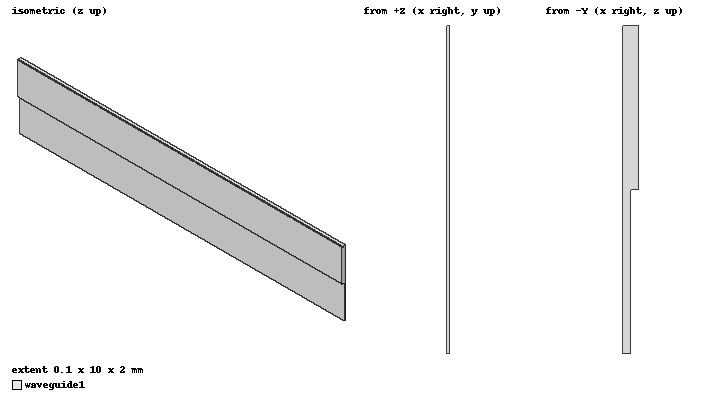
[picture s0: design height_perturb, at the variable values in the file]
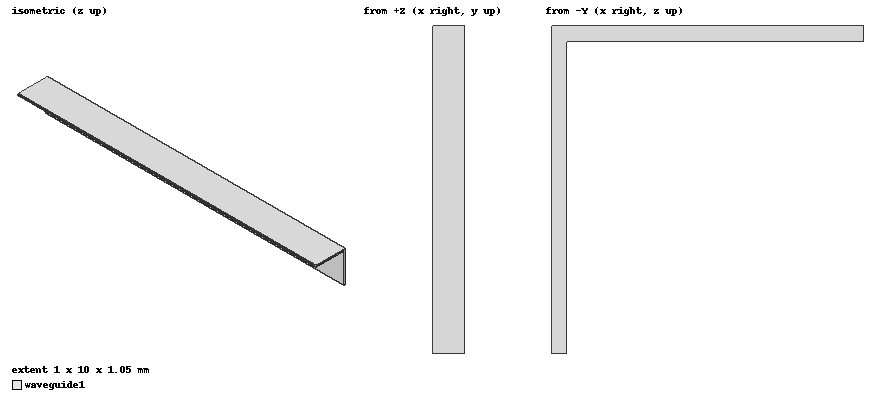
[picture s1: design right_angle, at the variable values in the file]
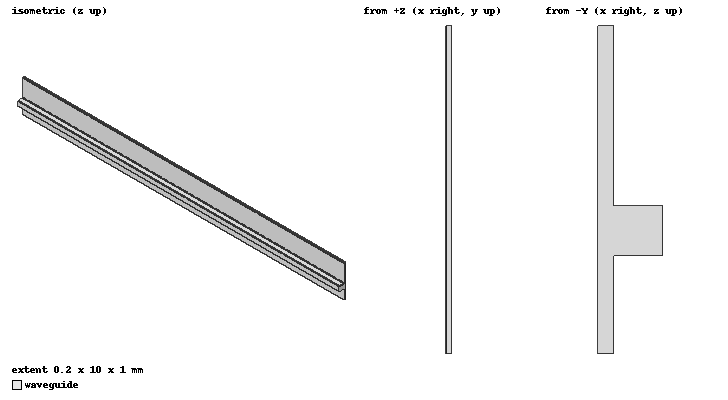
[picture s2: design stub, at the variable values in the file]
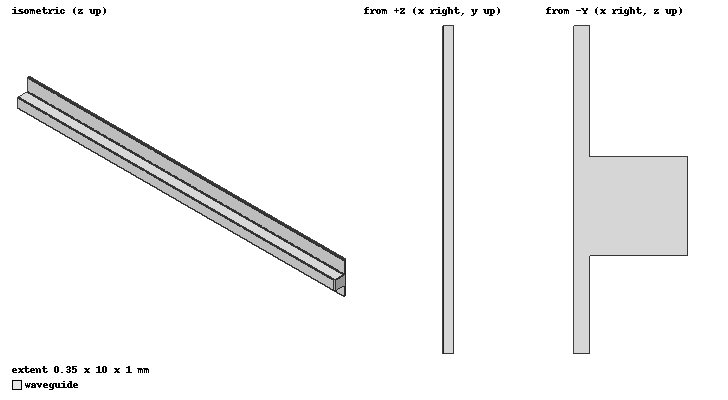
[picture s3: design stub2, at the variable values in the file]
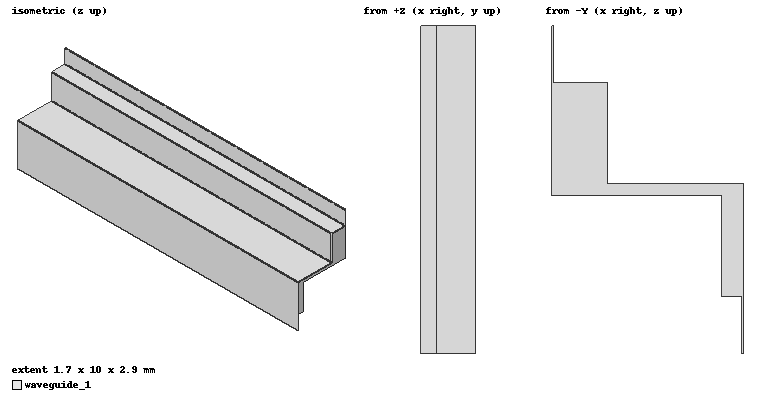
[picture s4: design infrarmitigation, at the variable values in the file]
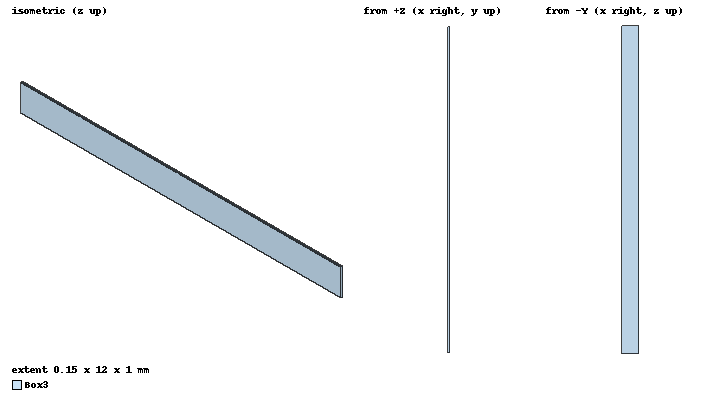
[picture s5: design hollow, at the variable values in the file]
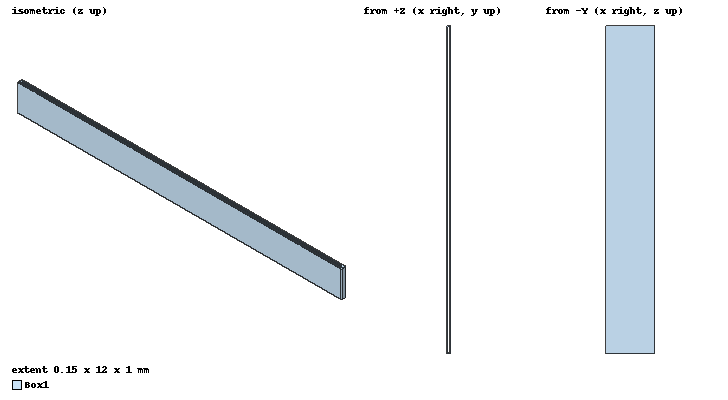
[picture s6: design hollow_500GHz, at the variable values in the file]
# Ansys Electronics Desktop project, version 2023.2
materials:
  vacuum: permittivity=1
  copper: permeability=0.999991 conductivity=58000000
  FR4_epoxy: permittivity=4.4 dielectric_loss_tangent=0.02
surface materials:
  Steel-oxidised-surface

design cylindrical2 (HFSS, HFSS Terminal Network, model units mm)
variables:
  Ephi = 0
  Ei = 1
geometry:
  Cylinder1 [vacuum] = cylinder(axis=X, base_centre=(0mm, 0mm, 0mm), radius=0.05mm, height=0.4mm)
  coordinate_system outgoing_cs = origin=(0.4mm, -1.0727353e-49mm, -3.2162453e-17mm) x=(1mm, 0mm, 0mm) y=(0mm, 1mm, 0mm)
  list outgoing = Cylinder1.face(+x end)
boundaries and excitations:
  rbin: Radiation Faces=Cylinder1.face(-x end)
  rbout: Radiation Faces=Cylinder1.face(+x end)
  IncPWave1: Plane Incident Wave Faces=Cylinder1.face(side) PhiStart=0deg PhiStop=45deg PhiPoints=4 ThetaStart=0deg ThetaStop=45deg ThetaPoints=4 EoPhi=1 EoTheta=0 OriginX=0.2mm OriginY=0.025mm OriginZ=0.05mm IsPropagating
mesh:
  initial mesh: GlobalModelRes{DefeatureLength=0.0001meter}
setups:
  Setup1: HfssDriven Frequency=2000GHz MaxDeltaE=0.02 MaximumPasses=10 MinimumPasses=1 MinimumConvergedPasses=1 PercentRefinement=30 BasisOrder=1 DrivenSolverType="Direct Solver"
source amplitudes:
  IncPWave1:1: 1 0deg
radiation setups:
  radiation_sphere_2000GHz: Infinite Sphere Theta=0deg..180deg step 5deg Phi=-90deg..90deg step 5deg CustomRadiationSurface=outgoing CoordSystem=outgoing_cs
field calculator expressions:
  outgoing_power = Vector_RealPoynting | Mag | EnterSurface(outgoing) | SurfaceValue | Integrate
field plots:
  Mag_E1: E Field over Cylinder1.face(+x end) on Setup1 : LastAdaptive at Freq=2000GHz Phase=0deg
  ComplexMag_E1: E Field over Cylinder1.face(side) on Setup1 : LastAdaptive at Freq=2000GHz IWavePhi=0deg IWaveTheta=0deg Phase=0deg

design height_perturb (HFSS, HFSS Terminal Network, model units mm)
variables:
  Ephi = 0
  Ei = 1
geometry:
  waveguide = box(corner=(0mm, -5mm, 0mm), size=(0.05mm, 10mm, 1mm))
  waveguide1 [vacuum] = box(corner=(0mm, -5mm, 1mm), size=(0.1mm, 10mm, 1mm))
  waveguide1.unite(waveguide)
  coordinate_system outgoing_cs = origin=(0.05mm, 0mm, 2mm) x=(0mm, 0mm, 1mm) y=(0mm, 1mm, 0mm)
  list outgoing = waveguide1.face(+z)
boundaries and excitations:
  rbin: Radiation Faces=waveguide1.face(at (0.025, 0, 0))
  rbout: Radiation Faces=waveguide1.face(+z)
  plane_wave_500GHz: Plane Incident Wave Faces=waveguide1.face(at (0.025, 0, 0)) PhiStart=0deg PhiStop=90deg PhiPoints=7 ThetaStart=90deg ThetaStop=180deg ThetaPoints=7 EoPhi=Ephi EoTheta=1-Ephi OriginX=0.025mm OriginY=0mm OriginZ=0mm IsPropagating
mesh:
  initial mesh: GlobalModelRes{DefeatureLength=0.0001meter}
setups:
  500GHz: HfssDriven Frequency=500GHz MaxDeltaE=0.02 MaximumPasses=10 MinimumPasses=1 MinimumConvergedPasses=1 PercentRefinement=30 BasisOrder=1 DrivenSolverType="Direct Solver"
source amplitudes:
  plane_wave_500GHz:1: 1 0deg
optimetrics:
  E_phi_sweep_500GHz: Parametric Sim._Setups=[500GHz]
    sweep Ephi: LIN 0 1 1
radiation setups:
  radiation_sphere_500GHz: Infinite Sphere Theta=0deg..180deg step 5deg Phi=-90deg..90deg step 0.34353685146506deg CustomRadiationSurface=outgoing CoordSystem=outgoing_cs
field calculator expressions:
  outgoing_power = Vector_RealPoynting | Mag | EnterSurface(outgoing) | SurfaceValue | Integrate
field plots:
  Mag_E1: E Field in waveguide1 on 500GHz : LastAdaptive at Freq=500GHz IWavePhi=0deg IWaveTheta=90deg Phase=0deg

design right_angle (HFSS, HFSS Terminal Network, model units mm)
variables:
  Ephi = 0
  Ei = 1
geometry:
  waveguide = box(corner=(0mm, -5mm, 0mm), size=(0.05mm, 10mm, 1mm))
  waveguide1 [vacuum] = box(corner=(0mm, -5mm, 1mm), size=(1mm, 10mm, 0.05mm))
  waveguide1.unite(waveguide)
  coordinate_system outgoing_cs = origin=(1mm, 0mm, 1.025mm) x=(1mm, 0mm, 0mm) y=(0mm, 1mm, 0mm)
  list outgoing = waveguide1.face(+x)
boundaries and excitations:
  rbin: Radiation Faces=waveguide1.face(at (0.025, 0, 0))
  rbout: Radiation Faces=waveguide1.face(+x)
  plane_wave_500GHz: Plane Incident Wave Faces=waveguide1.face(at (0.025, 0, 0)) PhiStart=0deg PhiStop=90deg PhiPoints=19 ThetaStart=90deg ThetaStop=180deg ThetaPoints=19 EoPhi=Ephi EoTheta=1-Ephi OriginX=0.025mm OriginY=0mm OriginZ=0mm IsPropagating
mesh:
  initial mesh: GlobalModelRes{DefeatureLength=0.0001meter}
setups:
  500GHz: HfssDriven Frequency=500GHz MaxDeltaE=0.02 MaximumPasses=10 MinimumPasses=1 MinimumConvergedPasses=1 PercentRefinement=30 BasisOrder=1 DrivenSolverType="Direct Solver"
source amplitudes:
  plane_wave_500GHz:1: 1 0deg
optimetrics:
  E_phi_sweep_500GHz: Parametric Sim._Setups=[500GHz]
    sweep Ephi: LIN 0 1 1
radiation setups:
  radiation_sphere_500GHz: Infinite Sphere Theta=0deg..180deg step 5deg Phi=-90deg..90deg step 0.34353685146506deg CustomRadiationSurface=outgoing CoordSystem=outgoing_cs
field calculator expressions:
  outgoing_power = Vector_RealPoynting | Mag | EnterSurface(outgoing) | SurfaceValue | Integrate

design stub (HFSS, HFSS Terminal Network, model units mm)
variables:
  Ephi = 0
  Ei = 1
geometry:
  waveguide [vacuum] = box(corner=(0mm, -5mm, 0mm), size=(0.05mm, 10mm, 1mm))
  Box1 = box(corner=(0.05mm, -5mm, 0.3mm), size=(0.15mm, 10mm, 0.15mm))
  waveguide.unite(Box1)
  coordinate_system outgoing_cs = origin=(0.025mm, 0mm, 1mm) x=(0mm, 0mm, 1mm) y=(0mm, 1mm, 0mm)
  list outgoing = waveguide.face(+z)
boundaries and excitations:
  rbin: Radiation Faces=waveguide.face(-z)
  rbout: Radiation Faces=waveguide.face(+z)
  plane_wave_500GHz: Plane Incident Wave Faces=waveguide.face(-z) PhiStart=0deg PhiStop=90deg PhiPoints=7 ThetaStart=90deg ThetaStop=180deg ThetaPoints=7 EoPhi=Ephi EoTheta=1-Ephi OriginX=0.025mm OriginY=0mm OriginZ=0mm IsPropagating
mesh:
  initial mesh: GlobalModelRes{DefeatureLength=0.0001meter}
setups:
  500GHz: HfssDriven Frequency=500GHz MaxDeltaE=0.02 MaximumPasses=10 MinimumPasses=1 MinimumConvergedPasses=1 PercentRefinement=30 BasisOrder=1 DrivenSolverType="Direct Solver"
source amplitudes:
  plane_wave_500GHz:1: 1 0deg
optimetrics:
  E_phi_sweep_500GHz: Parametric Sim._Setups=[500GHz]
    sweep Ephi: LIN 0 1 1
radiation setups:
  radiation_sphere_500GHz: Infinite Sphere Theta=0deg..180deg step 5deg Phi=-90deg..90deg step 0.34353685146506deg CustomRadiationSurface=outgoing CoordSystem=outgoing_cs
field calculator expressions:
  outgoing_power = Vector_RealPoynting | Mag | EnterSurface(outgoing) | SurfaceValue | Integrate
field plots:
  ComplexMag_E1, Mag_E1: E Field in waveguide on 500GHz : LastAdaptive at Freq=500GHz IWavePhi=0deg IWaveTheta=180deg Phase=0deg

design stub2 (HFSS, HFSS Terminal Network, model units mm)
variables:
  Ephi = 0
  Ei = 1
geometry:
  waveguide [vacuum] = box(corner=(0mm, -5mm, 0mm), size=(0.05mm, 10mm, 1mm))
  Box1 = box(corner=(0.05mm, -5mm, 0.3mm), size=(0.3mm, 10mm, 0.3mm))
  waveguide.unite(Box1)
  coordinate_system outgoing_cs = origin=(0.025mm, 0mm, 1mm) x=(0mm, 0mm, 1mm) y=(0mm, 1mm, 0mm)
  list outgoing = waveguide.face(+z)
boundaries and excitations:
  rbin: Radiation Faces=waveguide.face(-z)
  rbout: Radiation Faces=waveguide.face(+z)
  plane_wave_500GHz: Plane Incident Wave Faces=waveguide.face(-z) PhiStart=0deg PhiStop=90deg PhiPoints=7 ThetaStart=90deg ThetaStop=180deg ThetaPoints=7 EoPhi=Ephi EoTheta=1-Ephi OriginX=0.025mm OriginY=0mm OriginZ=0mm IsPropagating
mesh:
  initial mesh: GlobalModelRes{DefeatureLength=0.0001meter}
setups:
  500GHz: HfssDriven Frequency=500GHz MaxDeltaE=0.02 MaximumPasses=10 MinimumPasses=1 MinimumConvergedPasses=1 PercentRefinement=30 BasisOrder=1 DrivenSolverType="Direct Solver"
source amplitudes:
  plane_wave_500GHz:1: 1 0deg
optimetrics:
  E_phi_sweep_500GHz: Parametric Sim._Setups=[500GHz]
    sweep Ephi: LIN 0 1 1
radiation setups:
  radiation_sphere_500GHz: Infinite Sphere Theta=0deg..180deg step 5deg Phi=-90deg..90deg step 0.34353685146506deg CustomRadiationSurface=outgoing CoordSystem=outgoing_cs
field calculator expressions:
  outgoing_power = Vector_RealPoynting | Mag | EnterSurface(outgoing) | SurfaceValue | Integrate
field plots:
  ComplexMag_E1, Mag_E1: E Field in waveguide on 500GHz : LastAdaptive at Freq=500GHz IWavePhi=0deg IWaveTheta=180deg Phase=0deg

design infrarmitigation (HFSS, HFSS Terminal Network, model units mm)
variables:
  Ephi = 0
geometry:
  waveguide = box(corner=(0mm, -5mm, 0mm), size=(0.02mm, 10mm, 0.5mm))
  waveguide_1 [vacuum] = box(corner=(0mm, -5mm, -1mm), size=(0.5mm, 10mm, 1mm))
  waveguide_1.unite(waveguide)
  Box1 = box(corner=(0.5mm, -5mm, -1mm), size=(1mm, 10mm, 0.1mm))
  waveguide_1.unite(Box1)
  Box2 = box(corner=(1.5mm, 5mm, -0.9mm), size=(0.2mm, -10mm, -1mm))
  waveguide_1.unite(Box2)
  Box3 = box(corner=(1.7mm, 5mm, -1.9mm), size=(-0.02mm, -10mm, -0.5mm))
  waveguide_1.unite(Box3)
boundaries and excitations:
  rbout: Radiation Faces=waveguide_1.face(at (0.01, 0, 0.5))
  rbin1: Radiation Faces=waveguide_1.face(-z)
  rbout1: Radiation Faces=waveguide_1.face(+z)
  plane_wave_500GHz1: Plane Incident Wave Faces=waveguide_1.face(-z) PhiStart=0deg PhiStop=90deg PhiPoints=7 ThetaStart=0deg ThetaStop=90deg ThetaPoints=7 EoPhi=Ephi EoTheta=1-Ephi OriginX=-0.01mm OriginY=0mm OriginZ=0.5mm IsPropagating
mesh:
  initial mesh: GlobalModelRes{DefeatureLength=0.0001meter}
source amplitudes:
  plane_wave_500GHz1:1: 1 0deg

design rectangle (HFSS, HFSS Terminal Network, model units mm)
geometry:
  waveguide [vacuum] = box(corner=(0mm, -5mm, 0mm), size=(0.05mm, 10mm, 1mm))
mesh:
  initial mesh: GlobalModelRes{DefeatureLength=0.0001meter}

design crack1Rohan (HFSS, HFSS Terminal Network, model units mm)
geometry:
  crack1 [vacuum] = box(corner=(0mm, -5mm, 0mm), size=(0.05mm, 10mm, 1mm))
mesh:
  initial mesh: GlobalModelRes{DefeatureLength=0.0001meter}

design hollow (HFSS, HFSS Terminal Network, model units mm)
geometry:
  Box1 = box(corner=(-0.05mm, -6mm, 0mm), size=(0.15mm, 12mm, 1mm))
  Box2 = box(corner=(0mm, -5.95mm, 0mm), size=(0.05mm, 11.9mm, 1mm))
  Box1.subtract(Box2)
  Box3 [vacuum] = box(corner=(0.1mm, -6mm, 1mm), size=(-0.15mm, 12mm, -1mm))
  Box3.subtract(Box1)
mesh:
  initial mesh: GlobalModelRes{DefeatureLength=0.0001meter}

design hollow_500GHz (HFSS, HFSS Terminal Network, model units mm)
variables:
  Ephi = 0
  Ei = 1
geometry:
  Box1 [vacuum] = box(corner=(-0.05mm, -6mm, 0mm), size=(0.15mm, 12mm, 1mm))
  Box2 = box(corner=(0mm, -5.95mm, 0mm), size=(0.05mm, 11.9mm, 1mm))
  Box1.subtract(Box2)
  coordinate_system outgoing_cs = origin=(0.025mm, 0mm, 1mm) x=(0mm, 0mm, 1mm) y=(0mm, 1mm, 0mm)
  list outgoing = Box1.face(+z)
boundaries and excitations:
  rbin: Radiation Faces=Box1.face(-z)
  rbout: Radiation Faces=Box1.face(+z)
  plane_wave_500GHz: Plane Incident Wave Faces=Box1.face(-z) PhiStart=0deg PhiStop=90deg PhiPoints=2 ThetaStart=90deg ThetaStop=180deg ThetaPoints=2 EoPhi=Ephi EoTheta=1-Ephi OriginX=0.025mm OriginY=0mm OriginZ=0mm IsPropagating
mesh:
  initial mesh: GlobalModelRes{DefeatureLength=0.0001meter}
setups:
  500GHz: HfssDriven Frequency=500GHz MaxDeltaE=0.02 MaximumPasses=10 MinimumPasses=1 MinimumConvergedPasses=1 PercentRefinement=30 BasisOrder=1 DrivenSolverType="Direct Solver"
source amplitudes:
  plane_wave_500GHz:1: 1 0deg
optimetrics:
  E_phi_sweep_500GHz: Parametric Sim._Setups=[500GHz]
    sweep Ephi: LIN 0 1 1
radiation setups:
  radiation_sphere_500GHz: Infinite Sphere Theta=0deg..180deg step 5deg Phi=-90deg..90deg step 0.34353685146506deg CustomRadiationSurface=outgoing CoordSystem=outgoing_cs
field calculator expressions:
  outgoing_power = Vector_RealPoynting | Mag | EnterSurface(outgoing) | SurfaceValue | Integrate
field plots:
  Mag_E1: E Field in Box1 on 500GHz : LastAdaptive at Freq=500GHz IWavePhi=0deg IWaveTheta=90deg Phase=0deg

design crack1again_500GHz (HFSS, HFSS Terminal Network, model units mm)
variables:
  Ephi = 0
  Ei = 1
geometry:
  crack1 [vacuum] = box(corner=(0mm, -5mm, 0mm), size=(0.05mm, 10mm, 1mm))
  coordinate_system outgoing_cs = origin=(0.025mm, 0mm, 1mm) x=(0mm, 0mm, 1mm) y=(0mm, 1mm, 0mm)
  list outgoing = crack1.face(+z)
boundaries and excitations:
  rbin: Radiation Faces=crack1.face(-z)
  rbout: Radiation Faces=crack1.face(+z)
  plane_wave_500GHz: Plane Incident Wave Faces=crack1.face(-z) PhiStart=0deg PhiStop=90deg PhiPoints=2 ThetaStart=90deg ThetaStop=180deg ThetaPoints=2 EoPhi=Ephi EoTheta=1-Ephi OriginX=0.025mm OriginY=0mm OriginZ=0mm IsPropagating
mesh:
  initial mesh: GlobalModelRes{DefeatureLength=0.0001meter}
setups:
  500GHz: HfssDriven Frequency=500GHz MaxDeltaE=0.02 MaximumPasses=10 MinimumPasses=1 MinimumConvergedPasses=1 PercentRefinement=30 BasisOrder=1 DrivenSolverType="Direct Solver"
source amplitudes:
  plane_wave_500GHz:1: 1 0deg
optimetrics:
  E_phi_sweep_500GHz: Parametric Sim._Setups=[500GHz]
    sweep Ephi: LIN 0 1 1
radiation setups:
  radiation_sphere_500GHz: Infinite Sphere Theta=0deg..180deg step 5deg Phi=-90deg..90deg step 0.34353685146506deg CustomRadiationSurface=outgoing CoordSystem=outgoing_cs
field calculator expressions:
  outgoing_power = Vector_RealPoynting | Mag | EnterSurface(outgoing) | SurfaceValue | Integrate

design backagain (HFSS, HFSS Terminal Network, model units mm)
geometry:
  crack1 [vacuum] = box(corner=(0mm, -5mm, 0mm), size=(0.05mm, 10mm, 1mm))
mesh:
  initial mesh: GlobalModelRes{DefeatureLength=0.0001meter}

design backagain_500GHz (HFSS, HFSS Terminal Network, model units mm)
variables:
  Ephi = 0
  Ei = 1
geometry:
  crack1 [vacuum] = box(corner=(0mm, -5mm, 0mm), size=(0.05mm, 10mm, 1mm))
  coordinate_system outgoing_cs = origin=(0.025mm, 0mm, 1mm) x=(0mm, 0mm, 1mm) y=(0mm, 1mm, 0mm)
  list outgoing = crack1.face(+z)
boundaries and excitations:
  rbin: Radiation Faces=crack1.face(-z)
  rbout: Radiation Faces=crack1.face(+z)
  plane_wave_500GHz: Plane Incident Wave Faces=crack1.face(-z) PhiStart=0deg PhiStop=90deg PhiPoints=2 ThetaStart=90deg ThetaStop=180deg ThetaPoints=2 EoPhi=Ephi EoTheta=1-Ephi OriginX=0.025mm OriginY=0mm OriginZ=0mm IsPropagating
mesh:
  initial mesh: GlobalModelRes{DefeatureLength=0.0001meter}
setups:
  500GHz: HfssDriven Frequency=500GHz MaxDeltaE=0.02 MaximumPasses=10 MinimumPasses=1 MinimumConvergedPasses=1 PercentRefinement=30 BasisOrder=1 DrivenSolverType="Direct Solver"
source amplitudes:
  plane_wave_500GHz:1: 1 0deg
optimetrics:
  E_phi_sweep_500GHz: Parametric Sim._Setups=[500GHz]
    sweep Ephi: LIN 0 1 1
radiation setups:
  radiation_sphere_500GHz: Infinite Sphere Theta=0deg..180deg step 5deg Phi=-90deg..90deg step 0.34353685146506deg CustomRadiationSurface=outgoing CoordSystem=outgoing_cs
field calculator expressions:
  outgoing_power = Vector_RealPoynting | Mag | EnterSurface(outgoing) | SurfaceValue | Integrate

design backagain2 (HFSS, HFSS Terminal Network, model units mm)
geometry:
  crack1 [vacuum] = box(corner=(0mm, -5mm, 0mm), size=(0.05mm, 10mm, 1mm))
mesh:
  initial mesh: GlobalModelRes{DefeatureLength=0.0001meter}

design backagain2_500GHz (HFSS, HFSS Terminal Network, model units mm)
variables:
  Ephi = 0
  Ei = 1
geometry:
  crack1 [vacuum] = box(corner=(0mm, -5mm, 0mm), size=(0.05mm, 10mm, 1mm))
  coordinate_system outgoing_cs = origin=(0.025mm, 0mm, 1mm) x=(0mm, 0mm, 1mm) y=(0mm, 1mm, 0mm)
  list outgoing = crack1.face(+z)
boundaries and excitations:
  rbin: Radiation Faces=crack1.face(-z)
  rbout: Radiation Faces=crack1.face(+z)
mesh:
  initial mesh: GlobalModelRes{DefeatureLength=0.0001meter}
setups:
  500GHz: HfssDriven Frequency=500GHz MaxDeltaE=0.02 MaximumPasses=10 MinimumPasses=1 MinimumConvergedPasses=1 PercentRefinement=30 disabled BasisOrder=1 DrivenSolverType="Direct Solver"
  500GHz_refine: HfssDriven Frequency=500GHz MaxDeltaE=0.02 MaximumPasses=10 MinimumPasses=1 MinimumConvergedPasses=1 PercentRefinement=30 BasisOrder=1 DrivenSolverType="Direct Solver"
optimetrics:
  E_phi_sweep_500GHz: Parametric disabled Sim._Setups=[500GHz]
    sweep Ephi: LIN 0 1 1
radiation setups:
  radiation_sphere_500GHz: Infinite Sphere Theta=0deg..180deg step 5deg Phi=-90deg..90deg step 0.34353685146506deg CustomRadiationSurface=outgoing CoordSystem=outgoing_cs
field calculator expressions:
  outgoing_power = Vector_RealPoynting | Mag | EnterSurface(outgoing) | SurfaceValue | Integrate

design crack1Rohan_500GHz (HFSS, HFSS Terminal Network, model units mm)
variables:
  Ephi = 0
  Ei = 1
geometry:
  crack1 [vacuum] = box(corner=(0mm, -5mm, 0mm), size=(0.05mm, 10mm, 1mm))
  coordinate_system outgoing_cs = origin=(0.025mm, 0mm, 1mm) x=(0mm, 0mm, 1mm) y=(0mm, 1mm, 0mm)
  list outgoing = crack1.face(+z)
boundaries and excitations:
  rbin: Radiation Faces=crack1.face(-z)
  rbout: Radiation Faces=crack1.face(+z)
  plane_wave_500GHz: Plane Incident Wave Faces=crack1.face(-z) PhiStart=0deg PhiStop=90deg PhiPoints=3 ThetaStart=0deg ThetaStop=180deg ThetaPoints=5 EoPhi=Ephi EoTheta=1-Ephi OriginX=0.025mm OriginY=0mm OriginZ=0mm IsPropagating
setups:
  500GHz: HfssDriven Frequency=500GHz MaxDeltaE=0.02 MaximumPasses=10 MinimumPasses=1 MinimumConvergedPasses=1 PercentRefinement=30 BasisOrder=1 DrivenSolverType="Direct Solver"
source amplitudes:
  plane_wave_500GHz:1: 1 0deg
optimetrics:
  E_phi_sweep_500GHz: Parametric Sim._Setups=[500GHz]
    sweep Ephi: LIN 0 1 1
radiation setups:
  radiation_sphere_500GHz: Infinite Sphere Theta=0deg..180deg step 5deg Phi=-90deg..90deg step 0.34353685146506deg CustomRadiationSurface=outgoing CoordSystem=outgoing_cs
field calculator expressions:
  outgoing_power = Vector_RealPoynting | Mag | EnterSurface(outgoing) | SurfaceValue | Integrate

design crack2 (HFSS, HFSS Terminal Network, model units mm)
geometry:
  crack2 [vacuum] = box(corner=(0mm, -5mm, 0mm), size=(0.1mm, 10mm, 1.5mm))
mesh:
  initial mesh: GlobalModelRes{DefeatureLength=0.0001meter}

design crack2_500GHz (HFSS, HFSS Terminal Network, model units mm)
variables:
  Ephi = 0
  Ei = 1
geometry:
  crack2 [vacuum] = box(corner=(0mm, -5mm, 0mm), size=(0.1mm, 10mm, 1.5mm))
  coordinate_system outgoing_cs = origin=(0.05mm, 0mm, 1.5mm) x=(0mm, 0mm, 1mm) y=(0mm, 1mm, 0mm)
  list outgoing = crack2.face(+z)
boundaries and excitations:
  rbin: Radiation Faces=crack2.face(-z)
  rbout: Radiation Faces=crack2.face(+z)
  plane_wave_500GHz: Plane Incident Wave Faces=crack2.face(-z) PhiStart=0deg PhiStop=90deg PhiPoints=3 ThetaStart=0deg ThetaStop=180deg ThetaPoints=5 EoPhi=Ephi EoTheta=1-Ephi OriginX=0.05mm OriginY=0mm OriginZ=0mm IsPropagating
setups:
  500GHz: HfssDriven Frequency=500GHz MaxDeltaE=0.02 MaximumPasses=10 MinimumPasses=1 MinimumConvergedPasses=1 PercentRefinement=30 BasisOrder=1 DrivenSolverType="Direct Solver"
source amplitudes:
  plane_wave_500GHz:1: 1 0deg
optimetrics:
  E_phi_sweep_500GHz: Parametric Sim._Setups=[500GHz]
    sweep Ephi: LIN 0 1 1
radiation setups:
  radiation_sphere_500GHz: Infinite Sphere Theta=0deg..180deg step 5deg Phi=-90deg..90deg step 0.34353685146506deg CustomRadiationSurface=outgoing CoordSystem=outgoing_cs
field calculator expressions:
  outgoing_power = Vector_RealPoynting | Mag | EnterSurface(outgoing) | SurfaceValue | Integrate
